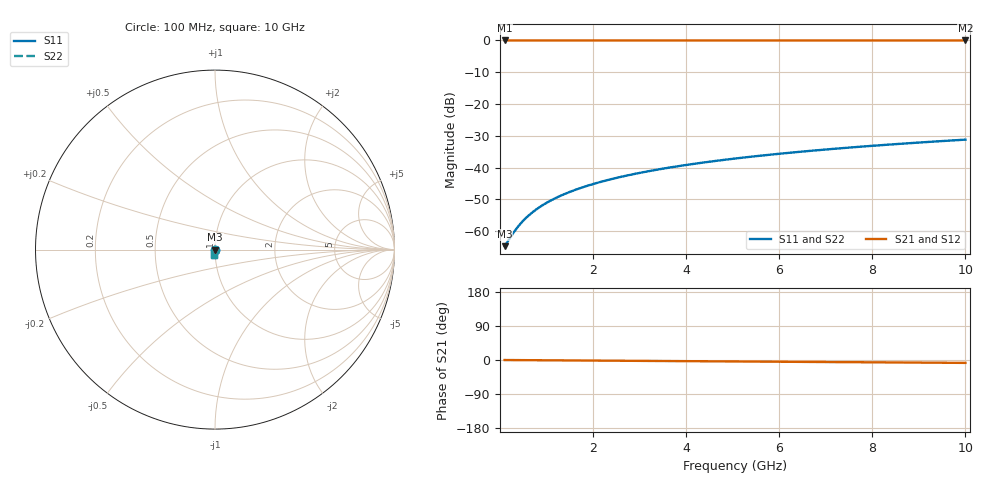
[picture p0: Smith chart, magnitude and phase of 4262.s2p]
# Hz S RI R 50.00
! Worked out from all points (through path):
!   100 points, 100 MHz to 10 GHz, reference 50 ohm
!   highest |S21| = 0.00 dB at 100 MHz (marker M1); lowest = 0.0 dB at 10 GHz (marker M2)
!   group delay of S21, straight-line fit = 2.12 ps
!   lowest |S11| = -64.7 dB at 100 MHz (marker M3), VSWR 1.00, Z = 50.1 - j0.0276 ohm
!   |S11| at or under -10 dB: start of sweep to end of sweep
!   |S22| runs from -64.7 to -31.2 dB; largest |S21 - S12| = 0
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1e8  0.000514 -0.000275  0.9995 -0.00133  0.9995 -0.00133  0.000514 -0.000275
3e8  0.000516 -0.000826  0.9995 -0.00398  0.9995 -0.00398  0.000516 -0.000826
4e8  0.000514 -0.0011  0.9995 -0.00531  0.9995 -0.00531  0.000514 -0.0011
5e8  0.000512 -0.00138  0.9994 -0.00663  0.9994 -0.00663  0.000512 -0.00138
6e8  0.000509 -0.00165  0.9994 -0.00796  0.9994 -0.00796  0.000509 -0.00165
7e8  0.000505 -0.00193  0.9994 -0.00929  0.9994 -0.00929  0.000505 -0.00193
8e8  0.0005 -0.0022  0.9994 -0.0106  0.9994 -0.0106  0.0005 -0.0022
9e8  0.000494 -0.00248  0.9994 -0.0119  0.9994 -0.0119  0.000494 -0.00248
1e9  0.000488 -0.00275  0.9994 -0.0133  0.9994 -0.0133  0.000488 -0.00275
1.2e9  0.000472 -0.00331  0.9993 -0.0159  0.9993 -0.0159  0.000472 -0.00331
1.5e9  0.000443 -0.00413  0.9992 -0.0199  0.9992 -0.0199  0.000443 -0.00413
1.8e9  0.000408 -0.00496  0.9991 -0.0239  0.9991 -0.0239  0.000408 -0.00496
2.1e9  0.000365 -0.00578  0.999 -0.0279  0.999 -0.0279  0.000365 -0.00578
2.5e9  0.000298 -0.00689  0.9989 -0.0332  0.9989 -0.0332  0.000298 -0.00689
2.9e9  0.000219 -0.00799  0.9987 -0.0385  0.9987 -0.0385  0.000219 -0.00799
3.4e9  0.000103 -0.00937  0.9984 -0.0451  0.9984 -0.0451  0.000103 -0.00937
4.2e9  -0.00012 -0.0116  0.9978 -0.0557  0.9978 -0.0557  -0.00012 -0.0116
5.1e9  -0.000428 -0.014  0.997 -0.0677  0.997 -0.0677  -0.000428 -0.014
5.9e9  -0.000751 -0.0162  0.9962 -0.0783  0.9962 -0.0783  -0.000751 -0.0162
6.7e9  -0.00112 -0.0184  0.9952 -0.0889  0.9952 -0.0889  -0.00112 -0.0184
8.4e9  -0.00207 -0.0231  0.9928 -0.1114  0.9928 -0.1114  -0.00207 -0.0231
1e10  -0.00315 -0.0274  0.9901 -0.1326  0.9901 -0.1326  -0.00315 -0.0274
